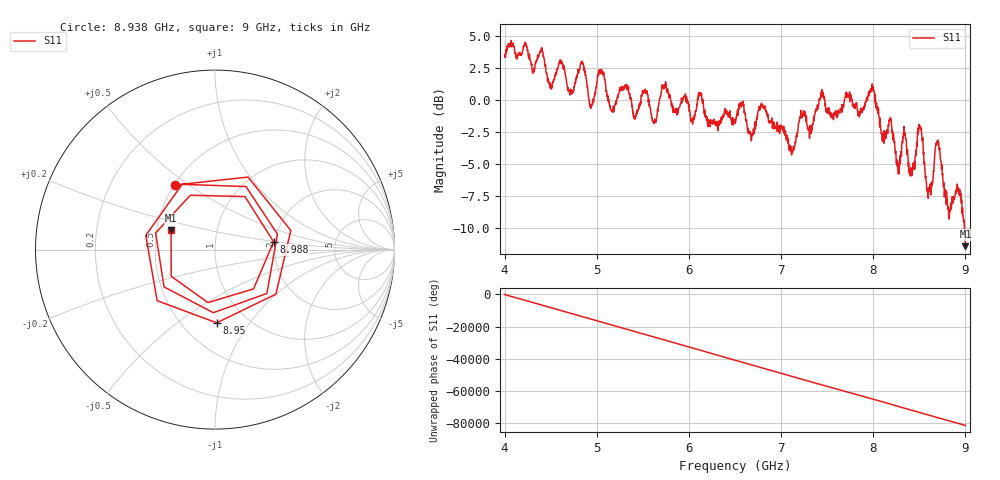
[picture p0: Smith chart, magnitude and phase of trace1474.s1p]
! Created with skrf 1.8.0 (http://scikit-rf.org).
# Hz S RI R 50.0
!freq ReS11 ImS11
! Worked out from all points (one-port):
!   1601 points, 4 GHz to 9 GHz, reference 50 ohm
!   lowest |S11| = -11.5 dB at 9 GHz (marker M1), VSWR 1.73, Z = 29.7 + j6.93 ohm
!   |S11| at or under -10 dB: 8.989714 GHz to end of sweep
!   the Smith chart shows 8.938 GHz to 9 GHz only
!   S11 on the Smith chart (normalised r, x): 8.938 GHz: 0.51, +0.44; 8.95 GHz: 0.73, -0.71; 8.988 GHz: 1.96, +0.19; 9 GHz: 0.59, +0.14
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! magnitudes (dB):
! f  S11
! 4 GHz  3.5
! 4.4 GHz  4.0
! 4.503 GHz  0.9
! 4.625 GHz  3.0
! 4.719 GHz  0.8
! 4.847 GHz  2.8
! 4.941 GHz  -0.5
! 5.038 GHz  2.4
! 5.162 GHz  -0.9
! 5.25 GHz  0.7
! 5.875 GHz  -0.7
! 6.5 GHz  -1.6
! 6.803 GHz  -0.4
! 7.125 GHz  -4.1
! 7.438 GHz  0.7
! 7.75 GHz  -0.1
! 7.991 GHz  0.9
! 8.262 GHz  -4.7
! 8.375 GHz  -4.4
! 8.425 GHz  -5.7
! 8.503 GHz  -2.0
! 8.603 GHz  -7.2
! 8.697 GHz  -3.4
! 8.816 GHz  -8.4
! 8.938 GHz  -7.5
! 8.95 GHz  -7.8
! 8.988 GHz  -9.6
! 9 GHz  -11.5
